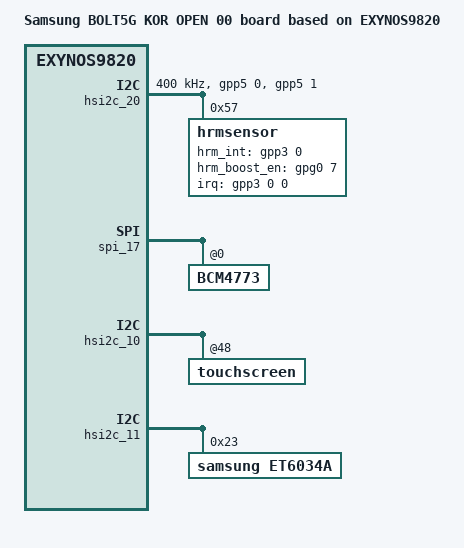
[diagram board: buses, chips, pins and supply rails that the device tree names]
/*
 * SAMSUNG EXYNOS9820 board device tree source
 *
 * Copyright (c) 2018 Samsung Electronics Co., Ltd.
 *		http://www.samsung.com
 *
 * This program is free software; you can redistribute it and/or modify
 * it under the terms of the GNU General Public License version 2 as
 * published by the Free Software Foundation.
*/

/dts-v1/;
/plugin/;
#include "exynos9820-sensorhub.dtsi"
#include "exynos9820-display-lcd.dtsi"
#include "battery_data_bolt_00.dtsi"
#include "exynos9820-bolt5g_if-pmic-max77705.dtsi"
#include <dt-bindings/clock/exynos9820.h>
#include <dt-bindings/pci/pci.h>
#include "exynos9820-bolt5g_common.dtsi"
#include "exynos9820-bolt5g_kor_gpio_00.dtsi"
#include "modem-s5100-sipc-pdata.dtsi"

/ {
	compatible = "samsung,BOLT5G KOR OPEN 00", "samsung,EXYNOS9820";
	dtbo-hw_rev = <0>;
   	dtbo-hw_rev_end = <0>;

	fragment@model {
		target-path = "/";
		__overlay__ {
			#address-cells = <2>;
			#size-cells = <1>;

			model = "Samsung BOLT5G KOR OPEN 00 board based on EXYNOS9820";

		}; /* end of __overlay__ */
	}; /* end of fragment */
}; /* end of root */

&hsi2c_20 {
	gpios = <&gpp5 0 0 &gpp5 1 0>;
	status = "okay";
	clock-frequency = <400000>;

	hrmsensor@57 {
		compatible = "hrmsensor";
		reg = <0x57>;
		interrupt-parent = <&gpp3>;
		interrupts = <0 0 0>;
		pinctrl-names = "default", "sleep", "idle";
		pinctrl-0 = <&hrm_irq &hrm_en>;
		pinctrl-1 = <&hrm_irqsleep &hrm_ensleep>;
		pinctrl-2 = <&hrm_irqidle &hrm_enidle>;
		hrmsensor,hrm_int-gpio = <&gpp3 0 0>;
		hrmsensor,hrm_boost_en-gpio = <&gpg0 7 0>;
		hrmsensor,vdd_1p8 = "S2MPB02_LDO8";
		hrmsensor,i2c_1p8 = "VDD_NFC_1P8";
		hrmsensor,thd = <100000 100000>;
		hrmsensor,init_curr = <0x46 0x41 0x28 0x3c>;
	};
};

&pinctrl_5 {
	hrm_irq: hrm-irq {
		samsung,pins = "gpp3-0";
		samsung,pin-function = <0xf>;
		samsung,pin-pud = <0>;
		samsung,pin-drv = <3>;
	};

	hrm_irqsleep: hrm-irqsleep {
		samsung,pins = "gpp3-0";
		samsung,pin-con-pdn = <2>;
		samsung,pin-pud-pdn = <0>;
	};

	hrm_irqidle: hrm-irqidle {
		samsung,pins = "gpp3-0";
		samsung,pin-function = <0xf>;
		samsung,pin-pud = <0>;
		samsung,pin-drv = <3>;
	};

	hrm_en: hrm-en {
		samsung,pins = "gpg0-7";
		samsung,pin-function = <0>;
		samsung,pin-pud = <1>;
		samsung,pin-drv = <2>;
	};

	hrm_ensleep: hrm-ensleep {
		samsung,pins = "gpg0-7";
		samsung,pin-con-pdn = <2>;
		samsung,pin-pud-pdn = <1>;
	};

	hrm_enidle: hrm-enidle {
		samsung,pins = "gpg0-7";
		samsung,pin-function = <0>;
		samsung,pin-pud = <1>;
		samsung,pin-drv = <2>;
	};
};

&spi_17 {
	BCM4773@0 {
		ssp-acc-position = <7>;
		ssp-mag-position = <5>;
		ssp-mag-array = /bits/ 8 <216 82 110 20 16 123 255 209 211 54 70 37 180 8 0 147 255 113 132 121
					190 252 250 15 9 40 180>;
		ssp-thermi-up = /bits/ 16 <3023 2990 2952 2903 2843 2772 2684 2582 2464 2335 2190 2037 1882 1742
					1558 1397 1246 1103 974 851 746 651 601>;
		ssp-thermi-sub = /bits/ 16 <3021 2990 2951 2903 2843 2771 2685 2584 2467 2339 2195 2044 1891
					1747 1567 1409 1258 1115 986 864 759 662 612>;
	};
};

&hsi2c_10 {
	touchscreen@48 {
		sync-reportrate-120 = "Y";
		sec,project_name = "CROWN", "N960";
		sec,bringup = <1>;
	};
};

&hsi2c_11 {
	#address-cells = <1>;
	#size-cells = <0>;
	status = "okay";
	ET6034A@46 {
		compatible = "samsung,et6034a";
		reg = <0x23>;
	};
	ET6312B@48 {
		status = "disabled";
	};
};
